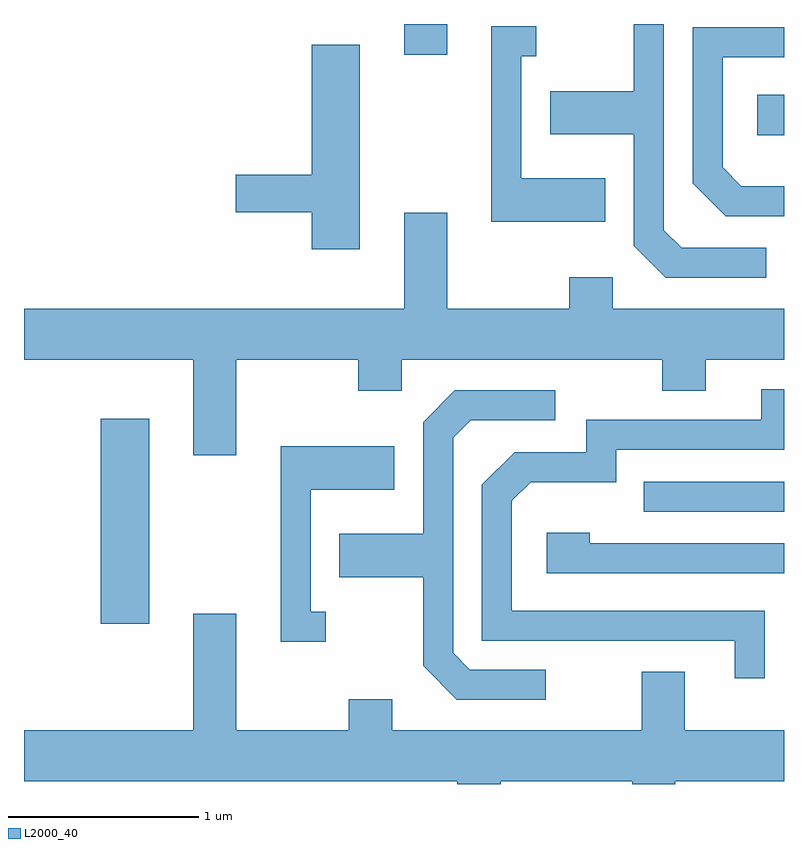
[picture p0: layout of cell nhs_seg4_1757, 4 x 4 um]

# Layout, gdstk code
import gdstk
lib = gdstk.Library(unit=1e-6, precision=1e-09)
def R(c, l, rs):  # rectangles x0, y0, x1, y1
    for r in rs: c.add(gdstk.rectangle(r[:2], r[2:], *l))
def P(c, l, *ps):  # polygons
    for p in ps: c.add(gdstk.Polygon(p, *l))
L2000_40 = (2000, 40)

nhs_seg4_1757 = lib.new_cell('nhs_seg4_1757')
R(nhs_seg4_1757, L2000_40, [(236.016,1368.826,236.269,1369.904), (238.873,1369.416,239.611,1369.574), (239.471,1371.396,239.611,1371.609), (237.611,1371.821,237.839,1371.982)])
P(nhs_seg4_1757, L2000_40, [(239.518,1370.804),(239.072,1370.804),(238.979,1370.897),(238.979,1371.982),(238.821,1371.982),(238.821,1371.629),(238.381,1371.629),(238.381,1371.401),(238.821,1371.401),(238.821,1370.814),(238.989,1370.646),(239.518,1370.646)],
  [(238.669,1371.169),(238.229,1371.169),(238.229,1371.811),(238.308,1371.811),(238.308,1371.969),(238.071,1371.969),(238.071,1370.941),(238.669,1370.941)],
  [(239.611,1371.129),(239.387,1371.129),(239.289,1371.227),(239.289,1371.806),(239.611,1371.806),(239.611,1371.964),(239.131,1371.964),(239.131,1371.144),(239.304,1370.971),(239.611,1370.971)],
  [(237.379,1371.874),(237.126,1371.874),(237.126,1371.189),(236.726,1371.189),(236.726,1370.991),(237.126,1370.991),(237.126,1370.796),(237.379,1370.796)],
  [(235.611,1370.216),(236.501,1370.216),(236.501,1369.711),(236.729,1369.711),(236.729,1370.216),(237.371,1370.216),(237.371,1370.051),(237.599,1370.051),(237.599,1370.216),(238.971,1370.216),(238.971,1370.051),(239.199,1370.051),(239.199,1370.216),(239.611,1370.216),(239.611,1370.484),(238.709,1370.484),(238.709,1370.649),(238.481,1370.649),(238.481,1370.484),(237.839,1370.484),(237.839,1370.989),(237.611,1370.989),(237.611,1370.484),(235.611,1370.484)],
  [(239.509,1368.894),(238.179,1368.894),(238.179,1369.474),(238.277,1369.571),(238.729,1369.571),(238.729,1369.741),(239.611,1369.741),(239.611,1370.059),(239.491,1370.059),(239.491,1369.899),(238.571,1369.899),(238.571,1369.729),(238.194,1369.729),(238.021,1369.557),(238.021,1368.736),(239.351,1368.736),(239.351,1368.538),(239.509,1368.538)],
  [(238.358,1368.584),(237.957,1368.584),(237.869,1368.672),(237.869,1369.804),(237.962,1369.896),(238.408,1369.896),(238.408,1370.054),(237.879,1370.054),(237.711,1369.887),(237.711,1369.299),(237.271,1369.299),(237.271,1369.071),(237.711,1369.071),(237.711,1368.604),(237.889,1368.426),(238.358,1368.426)],
  [(237.198,1368.889),(237.119,1368.889),(237.119,1369.531),(237.559,1369.531),(237.559,1369.759),(236.961,1369.759),(236.961,1368.731),(237.198,1368.731)],
  [(239.611,1369.249),(238.589,1369.249),(238.589,1369.304),(238.361,1369.304),(238.361,1369.091),(239.611,1369.091)],
  [(238.119,1367.996),(238.811,1367.996),(238.811,1367.982),(239.039,1367.982),(239.039,1367.996),(239.611,1367.996),(239.611,1368.264),(239.089,1368.264),(239.089,1368.574),(238.861,1368.574),(238.861,1368.264),(237.549,1368.264),(237.549,1368.429),(237.321,1368.429),(237.321,1368.264),(236.729,1368.264),(236.729,1368.879),(236.501,1368.879),(236.501,1368.264),(235.611,1368.264),(235.611,1367.996),(237.891,1367.996),(237.891,1367.982),(238.119,1367.982)])

lib.write_gds('nhs_seg4_1757.gds')
